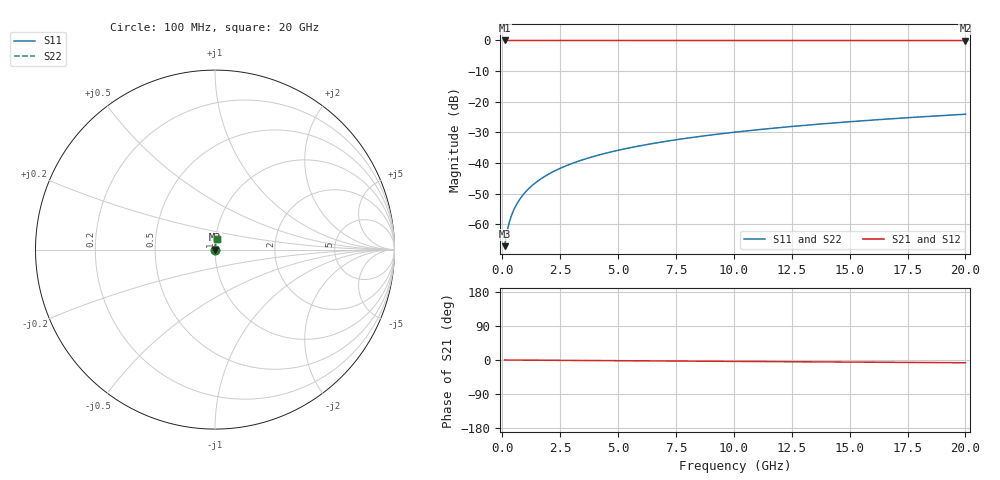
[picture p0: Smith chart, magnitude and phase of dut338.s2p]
! Touchstone file exported from HFSS 2026.1.0
!  File:  C:/ffzhzh/LocalFiles/Ansys_Project_Files/temp_train_TSV_338_1783018717_46388.aedt
!  Generated:  03:01:13 AM Jul  3, 2026
!  Design:  TSV
!  Project:  temp_train_TSV_338_1783018717_46388
! Variables:
!  h_bsmrdl = 2um
!  h_ox = 20um
!  h_rdl = 5um
!  h_sub = 57.59um
!  h_tmrdl = 5um
!  h_tsv = 57.59um
!  h_via = 3um
!  l_bsmrdl = 300um
!  l_sub = 410.62um
!  l_tmrdl = 200um
!  m_sub = 200um
!  pitch = 45.78um
!  r_tsv = 5.31um
!  s_tmrdl = 10um
!  w_bsmrdl = 18um
!  w_sub = 500um
!  w_tmrdl = 12um
!  x_tsv_center1 = 206um
!  x_tsv_center2 = 524um
!  x_tsv_center3 = 736um
!  x_tsv_center4 = 1054um
!  x_tsv_center5 = 1266um
!  x_tsv_center6 = 1584um
# GHz S MA R 50.000000
! Terminal data exported
! Port[1] = TSV1_1_T1
! Port[2] = TSV1_1_T2
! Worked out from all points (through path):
!   200 points, 100 MHz to 20 GHz, reference 50 ohm
!   highest |S21| = 0.00 dB at 100 MHz (marker M1); lowest = 0.0 dB at 20 GHz (marker M2)
!   group delay of S21, straight-line fit = 1.01 ps
!   lowest |S11| = -67.1 dB at 100 MHz (marker M3), VSWR 1.00, Z = 50 + j0.0348 ohm
!   |S11| at or under -10 dB: start of sweep to end of sweep
!   |S22| runs from -67.1 to -24.1 dB; largest |S21 - S12| = 5.2e-15
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0.1  0.0004391 52.3  0.9997 -0.0  0.9997 -0.0  0.0004391 52.3
! Gamma 0 0 0 0
! Port Impedance 50 0 50 0
0.2  0.000746 68.1  0.9997 -0.1  0.9997 -0.1  0.000746 68.1
0.3  0.001073 74.2  0.9997 -0.1  0.9997 -0.1  0.001073 74.2
0.4  0.001403 77.3  0.9997 -0.2  0.9997 -0.2  0.001403 77.3
0.5  0.001732 79.2  0.9997 -0.2  0.9997 -0.2  0.001732 79.2
0.7  0.002385 81.4  0.9996 -0.3  0.9996 -0.3  0.002385 81.4
0.8  0.002709 82.1  0.9996 -0.3  0.9996 -0.3  0.002709 82.1
1  0.003356 83.1  0.9996 -0.4  0.9996 -0.4  0.003356 83.1
1.2  0.004003 83.8  0.9996 -0.4  0.9996 -0.4  0.004003 83.8
1.4  0.004648 84.3  0.9996 -0.5  0.9996 -0.5  0.004648 84.3
1.7  0.005616 84.8  0.9995 -0.6  0.9995 -0.6  0.005616 84.8
2  0.006582 85.1  0.9995 -0.7  0.9995 -0.7  0.006582 85.1
2.7  0.008829 85.5  0.9994 -1.0  0.9994 -1.0  0.008829 85.5
3.5  0.01138 85.6  0.9993 -1.3  0.9993 -1.3  0.01138 85.6
4.2  0.0136 85.6  0.9992 -1.6  0.9992 -1.6  0.0136 85.6
5  0.01612 85.5  0.9991 -1.8  0.9991 -1.8  0.01612 85.5
6.8  0.02175 85.1  0.9989 -2.5  0.9989 -2.5  0.02175 85.1
8.3  0.02642 84.8  0.9987 -3.0  0.9987 -3.0  0.02642 84.8
10.1  0.03201 84.4  0.9984 -3.7  0.9984 -3.7  0.03201 84.4
13.4  0.04222 83.4  0.9979 -4.9  0.9979 -4.9  0.04222 83.4
16.7  0.05238 82.4  0.9972 -6.1  0.9972 -6.1  0.05238 82.4
20  0.06248 81.3  0.9965 -7.3  0.9965 -7.3  0.06248 81.3
